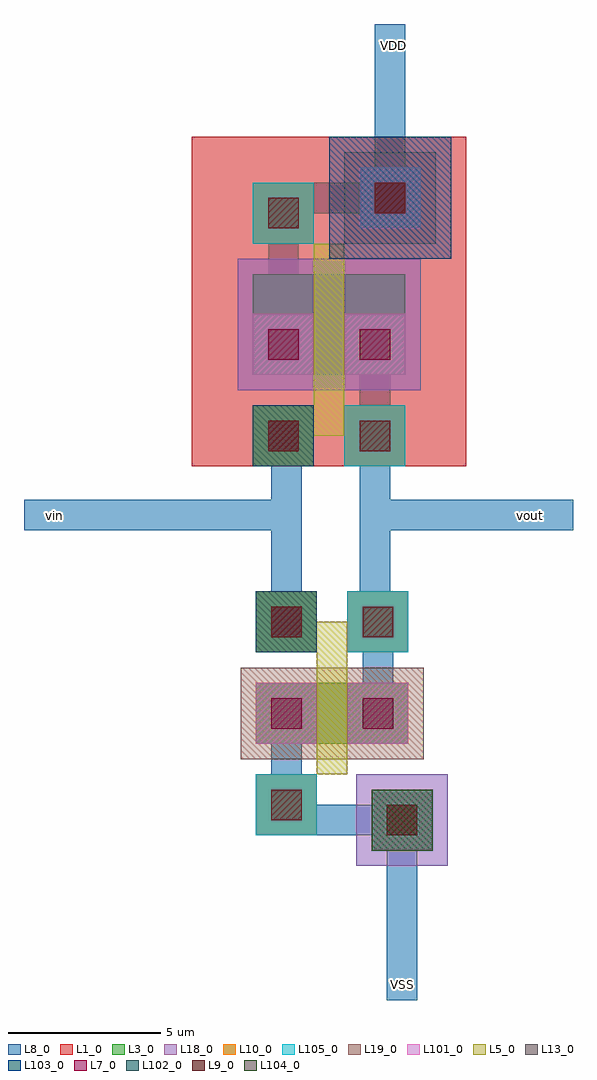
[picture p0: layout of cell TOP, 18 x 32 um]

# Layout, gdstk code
import gdstk
lib = gdstk.Library(unit=1e-6, precision=1e-07)
def R(c, l, rs):  # rectangles x0, y0, x1, y1
    for r in rs: c.add(gdstk.rectangle(r[:2], r[2:], *l))
L1_0 = (1, 0)
L3_0 = (3, 0)
L5_0 = (5, 0)
L7_0 = (7, 0)
L8_0 = (8, 0)
L9_0 = (9, 0)
L10_0 = (10, 0)
L13_0 = (13, 0)
L18_0 = (18, 0)
L19_0 = (19, 0)
L101_0 = (101, 0)
L102_0 = (102, 0)
L103_0 = (103, 0)
L104_0 = (104, 0)
L105_0 = (105, 0)

dcont = lib.new_cell('dcont')
R(dcont, L3_0, [(-1,-1,1,1)])
R(dcont, L7_0, [(-0.5,-0.5,0.5,0.5)])
R(dcont, L8_0, [(-1,-1,1,1)])
R(dcont, L13_0, [(-0.5,-0.5,0.5,0.5)])
R(dcont, L101_0, [(-1,-1,1,1)])

pcont = lib.new_cell('pcont')
R(pcont, L5_0, [(-1,-1,1,1)])
R(pcont, L7_0, [(-0.5,-0.5,0.5,0.5)])
R(pcont, L8_0, [(-1,-1,1,1)])
R(pcont, L13_0, [(-0.5,-0.5,0.5,0.5)])
R(pcont, L102_0, [(-1,-1,1,1)])

via = lib.new_cell('Via')
R(via, L8_0, [(-1,-1,1,1)])
R(via, L9_0, [(-0.5,-0.5,0.5,0.5)])
R(via, L10_0, [(-1,-1,1,1)])
R(via, L13_0, [(-0.5,-0.5,0.5,0.5)])
R(via, L105_0, [(-1,-1,1,1)])

dcont1 = lib.new_cell('dcont1')
R(dcont1, L3_0, [(-1,-1,1,1)])
R(dcont1, L7_0, [(-0.5,-0.5,0.5,0.5)])
R(dcont1, L8_0, [(-1,-1,1,1)])
R(dcont1, L13_0, [(-0.5,-0.5,0.5,0.5)])
R(dcont1, L101_0, [(-1,-1,1,1)])

psubcont = lib.new_cell('psubcont')
R(psubcont, L18_0, [(-1.5,-1.5,1.5,1.5)])
R(psubcont, L104_0, [(-1,-1,1,1)])
psubcont.add(gdstk.Reference(dcont1, (0,0)))

nch_1 = lib.new_cell('Nch$1')
R(nch_1, L3_0, [(0,3,5,5)])
R(nch_1, L19_0, [(-0.5,2.5,5.5,5.5)])
nch_1.add(gdstk.FlexPath([(1,3),(1,5)], 2, ends="flush", simple_path=True, layer=8, datatype=0))  # L8_0
nch_1.add(gdstk.FlexPath([(4,3),(4,5)], 2, ends="flush", simple_path=True, layer=8, datatype=0))  # L8_0
nch_1.add(gdstk.FlexPath([(1,1),(1,4)], 1, ends="flush", simple_path=True, layer=8, datatype=0))  # L8_0
nch_1.add(gdstk.FlexPath([(4,4),(4,7)], 1, ends="flush", simple_path=True, layer=8, datatype=0))  # L8_0
nch_1.add(gdstk.FlexPath([(2.5,3),(2.5,5)], 1, ends=(1, 1), simple_path=True, layer=5, datatype=0))  # L5_0
nch_1.add(gdstk.FlexPath([(1,6.5),(2.5,6.5),(2.5,6)], 1, ends="flush", simple_path=True, layer=5, datatype=0))  # L5_0
nch_1.add(gdstk.Reference(dcont, (1,4)))
nch_1.add(gdstk.Reference(dcont, (4,4)))
nch_1.add(gdstk.Reference(pcont, (1,7)))
nch_1.add(gdstk.Reference(via, (1,7)))
nch_1.add(gdstk.Reference(via, (1,1)))
nch_1.add(gdstk.Reference(via, (4,7)))
nch_1.add(gdstk.Reference(psubcont, (4.8,0.5)))
nch_1.add(gdstk.Reference(via, (4.8,0.5)))

nsubcont = lib.new_cell('nsubcont')
R(nsubcont, L1_0, [(-2,-2,2,2)])
R(nsubcont, L19_0, [(-1.5,-1.5,1.5,1.5)])
R(nsubcont, L103_0, [(-2,-2,2,2)])
nsubcont.add(gdstk.Reference(dcont1, (0,0)))

pch = lib.new_cell('Pch')
R(pch, L1_0, [(-2,0,7,10.8)])
R(pch, L3_0, [(0,3,5,6.3)])
R(pch, L18_0, [(-0.5,2.5,5.5,6.8)])
pch.add(gdstk.FlexPath([(1,3),(1,6.3)], 2, ends="flush", simple_path=True, layer=8, datatype=0))  # L8_0
pch.add(gdstk.FlexPath([(4,3),(4,6.3)], 2, ends="flush", simple_path=True, layer=8, datatype=0))  # L8_0
pch.add(gdstk.FlexPath([(1,5.3),(1,8.3)], 1, ends="flush", simple_path=True, layer=8, datatype=0))  # L8_0
pch.add(gdstk.FlexPath([(4,1),(4,4)], 1, ends="flush", simple_path=True, layer=8, datatype=0))  # L8_0
pch.add(gdstk.FlexPath([(2.5,3),(2.5,6.3)], 1, ends=(1, 1), simple_path=True, layer=5, datatype=0))  # L5_0
pch.add(gdstk.FlexPath([(1,1.5),(2.5,1.5),(2.5,2)], 1, ends="flush", simple_path=True, layer=5, datatype=0))  # L5_0
pch.add(gdstk.Reference(dcont, (1,4)))
pch.add(gdstk.Reference(dcont, (4,4)))
pch.add(gdstk.Reference(pcont, (1,1)))
pch.add(gdstk.Reference(via, (1,1)))
pch.add(gdstk.Reference(via, (1,8.3)))
pch.add(gdstk.Reference(via, (4,1)))
pch.add(gdstk.Reference(nsubcont, (4.5,8.8)))
pch.add(gdstk.Reference(via, (4.5,8.8)))

top = lib.new_cell('TOP')
top.add(gdstk.FlexPath([(11.5,4),(11.5,-3),(11.5,-3)], 1, ends="extended", simple_path=True, layer=8, datatype=0))  # L8_0
top.add(gdstk.FlexPath([(8.6,3.7),(8.6,-2.6),(8.6,-2.6)], 1, ends="extended", simple_path=True, layer=8, datatype=0))  # L8_0
top.add(gdstk.FlexPath([(12,11.4),(8.6,11.4),(8.6,10.9)], 1, ends="flush", simple_path=True, layer=8, datatype=0))  # L8_0
top.add(gdstk.FlexPath([(0,1),(8.6,1)], 1, ends="flush", simple_path=True, layer=8, datatype=0))  # L8_0
top.add(gdstk.FlexPath([(18,1),(11.5,1),(11.5,0.5)], 1, ends="flush", simple_path=True, layer=8, datatype=0))  # L8_0
top.add(gdstk.FlexPath([(12,11.4),(12,17.1)], 1, ends="flush", simple_path=True, layer=8, datatype=0))  # L8_0
top.add(gdstk.FlexPath([(8.6,-8.5),(8.6,-9),(12.4,-9),(12.4,-14.9)], 1, ends="flush", simple_path=True, layer=8, datatype=0))  # L8_0
top.add(gdstk.Reference(nch_1, (7.6,-9.5)))
top.add(gdstk.Reference(pch, (7.5,2.6)))
top.add(gdstk.Label('VDD', (12.1,16.4), layer=8, texttype=0))
top.add(gdstk.Label('vin', (1,1), layer=8, texttype=0))
top.add(gdstk.Label('vout', (16.6,1), layer=8, texttype=0))
top.add(gdstk.Label('VSS', (12.4,-14.4), layer=8, texttype=0))

lib.write_gds('TOP.gds')
